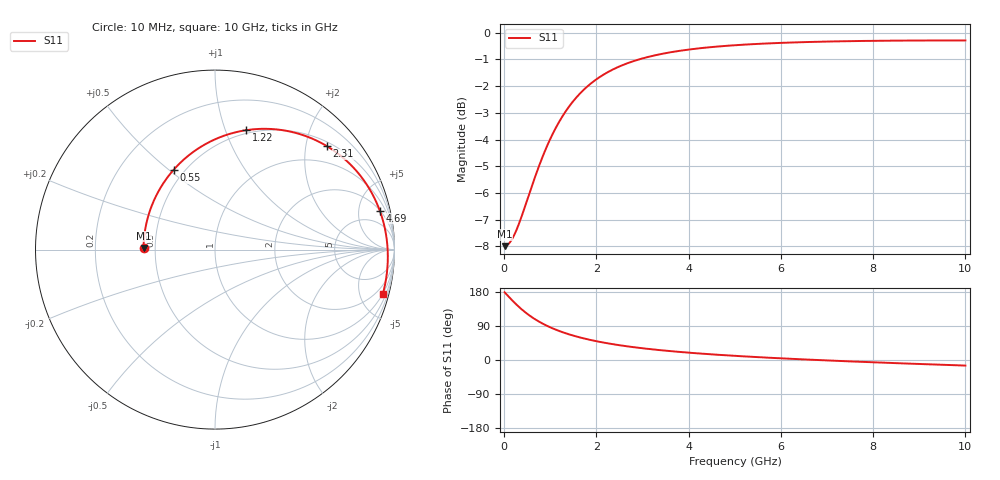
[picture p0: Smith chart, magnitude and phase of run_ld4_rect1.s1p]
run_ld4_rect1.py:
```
import os
import numpy as np
from openEMS import openEMS
import matplotlib
matplotlib.use('Agg')
import matplotlib.pyplot as plt

from gds2openEMS import *

gds_filename = "Ind_LD4_RECT_X216.0_Y93.0_SE.gds"
XML_filename = "/foss/designs/rapidpassives/try4/newflow/drains/OPENEMS-GF180MCUD-1P5M-TM11KA-MIMB-STACKED2.xml"

settings = {}
settings['preview_only'] = False
settings['no_gui'] = True
settings['merge_polygon_size'] = 2
settings['resonance_estimation'] = True

script_path = utilities.get_script_path(__file__)
model_basename = utilities.get_basename(__file__)
sim_path = utilities.create_sim_path(script_path, model_basename)
print('Simulation data directory: ', sim_path)
os.chdir(os.path.dirname(os.path.abspath(__file__)))

settings['unit'] = 1e-6
settings['margin'] = 350
settings['fstart'] = 0
settings['fstop'] = 10e9
targetfreq = 2.4e9
settings['numfreq'] = 1001
settings['refined_cellsize'] = 0.5
settings['Boundaries'] = ['PEC', 'PEC', 'PEC', 'PEC', 'PEC', 'PEC']
settings['cells_per_wavelength'] = 10
settings['energy_limit'] = -60

simulation_ports = simulation_setup.all_simulation_ports()
simulation_ports.add_port(simulation_setup.simulation_port(portnumber=1, voltage=1, port_Z0=50, source_layernum=201, from_layername='M1', to_layername='TM', direction='z'))

materials_list, dielectrics_list, metals_list = stackup_reader.read_substrate(XML_filename)
layernumbers = metals_list.getlayernumbers()
layernumbers.extend(simulation_ports.portlayers)
allpolygons = gds_reader.read_gds(gds_filename, layernumbers, purposelist=[0], metals_list=metals_list, merge_polygon_size=settings['merge_polygon_size'])

FDTD = openEMS(EndCriteria=np.exp(settings['energy_limit']/10 * np.log(10)))
FDTD.SetGaussExcite((settings['fstart']+settings['fstop'])/2, (settings['fstop']-settings['fstart'])/2)
FDTD.SetBoundaryCond(settings['Boundaries'])

settings['simulation_ports'] = simulation_ports
settings['materials_list'] = materials_list
settings['dielectrics_list'] = dielectrics_list
settings['metals_list'] = metals_list
settings['layernumbers'] = layernumbers
settings['allpolygons'] = allpolygons
settings['sim_path'] = sim_path
settings['model_basename'] = model_basename

settings['excite_portnumbers'] = [1]
simulation_setup.setupSimulation(FDTD=FDTD, settings=settings)
simulation_setup.runSimulation(FDTD=FDTD, settings=settings)

if not settings['preview_only']:
    f = np.linspace(settings['fstart'], settings['fstop'], settings['numfreq'])
    s11 = utilities.calculate_Sij(1, 1, f, sim_path, simulation_ports)
    utilities.write_snp(np.array([s11]), f, os.path.join(sim_path, model_basename + '.s1p'), z0=simulation_ports.get_reference_impedance())

    z11 = utilities.calculate_Zij(1, 1, f, sim_path, simulation_ports)
    np.seterr(divide='ignore', invalid='ignore')
    omega = 2*np.pi*f
    Qse = z11.imag/z11.real
    Lse = z11.imag/omega
    Rse = z11.real

    findex = np.where(f >= targetfreq)[0].item(0)
    print('\nSingle-ended inductor parameters (LD4_RECT_CAND1_X216.0_Y93.0)')
    print(f"Frequency [GHz]: {f[findex]/1e9:.3f}")
    print(f"Series L  [nH] : {Lse[findex]*1e9:.4f}")
    print(f"Series R  [Ohm]: {Rse[findex]:.4f}")
    print(f"Q factor       : {Qse[findex]:.3f}")
    print(f"Peak Q         : {max(Qse):.3f}")
```
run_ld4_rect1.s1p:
#  Hz  S  RI  R  50
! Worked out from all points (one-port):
!   1000 points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, 10 MHz to 10 GHz, reference 50 ohm
!   lowest |S11| = -8.0 dB at 10 MHz (marker M1), VSWR 2.32, Z = 21.5 + j0.469 ohm
!   |S11| at or under -10 dB: nowhere
!   S11 on the Smith chart (normalised r, x): 10 MHz: 0.43, +0.01; 550 MHz: 0.44, +0.52; 1.22 GHz: 0.47, +1.18; 2.31 GHz: 0.59, +2.44; 4.69 GHz: 2.04, +8.04; 10 GHz: 1.00, -7.62
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1e7  -0.3983 0.00918
2.6e8  -0.3572 0.2317
5.5e8  -0.2304 0.4448
8.7e8  -0.0393 0.5952
1.22e9  0.1734 0.6653
1.46e9  0.3031 0.6724
1.75e9  0.4361 0.6535
2.31e9  0.6247 0.5757
2.79e9  0.732 0.4956
3.34e9  0.8145 0.4059
3.96e9  0.8746 0.3135
4.69e9  0.9179 0.2176
6.67e9  0.9613 0.0101
1e10  0.9356 -0.2455
